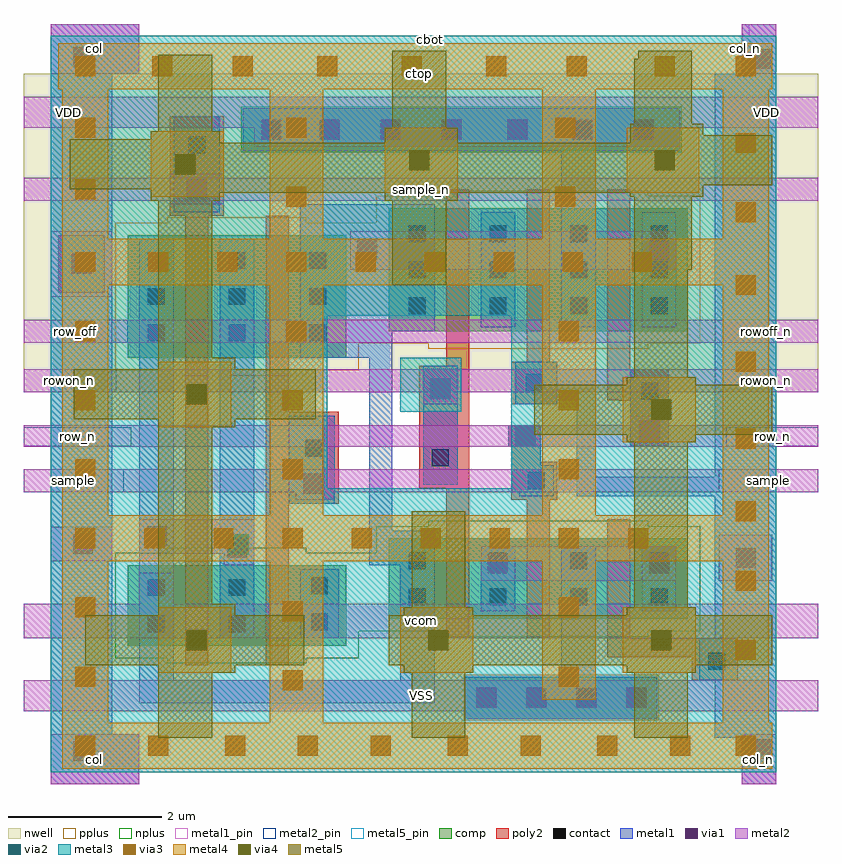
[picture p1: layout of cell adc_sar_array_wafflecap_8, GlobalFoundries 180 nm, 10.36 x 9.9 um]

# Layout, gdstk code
import gdstk
lib = gdstk.Library(unit=1e-6, precision=1e-09)
def R(c, l, rs):  # rectangles x0, y0, x1, y1
    for r in rs: c.add(gdstk.rectangle(r[:2], r[2:], *l))
def A(c, l, x, y, w, h, nx, ny, dx, dy):  # array of equal rectangles
    R(c, l, [(x+i*dx, y+j*dy, x+i*dx+w, y+j*dy+h) for i in range(nx) for j in range(ny)])
nwell = (21, 0)
comp = (22, 0)
poly2 = (30, 0)
pplus = (31, 0)
nplus = (32, 0)
contact = (33, 0)
metal1 = (34, 0)
metal1_pin = (34, 10)
via1 = (35, 0)
metal2 = (36, 0)
metal2_pin = (36, 10)
via2 = (38, 0)
via3 = (40, 0)
via4 = (41, 0)
metal3 = (42, 0)
metal4 = (46, 0)
metal5 = (81, 0)
metal5_pin = (81, 10)

adc_sar_array_wafflecap_ = lib.new_cell('adc_sar_array_wafflecap_8')
R(adc_sar_array_wafflecap_, nwell, [(-5,-0.95,5.35,3.2)])
R(adc_sar_array_wafflecap_, comp, [(0.75,-5.2,3.25,-4.65), (-3.65,-4.25,-0.8,-3.2), (-0.25,-3.9,3.65,-2.85), (-3.65,-0.5,-0.8,1.1), (-0.25,-0.15,3.65,1.45), (-2.15,2.2,3.55,2.75)])
R(adc_sar_array_wafflecap_, poly2, [(3.7,-4.7,4.3,-4.4), (-2.9,-4.5,-2.6,1.35), (-1.85,-4.5,-1.55,-2.4), (2.6,-4.4,4.3,-4.15), (0.5,-4.15,0.8,-2.2), (1.55,-4.15,1.85,-2.35), (2.6,-4.15,2.9,-2.6), (-1.85,-2.4,-0.9,-1.2), (1.35,-2.35,1.95,-1.85), (0.15,-2.2,0.8,-0.6), (1.35,-1.85,1.73,-1.66), (1.31,-1.66,1.73,-1.38), (2.9,-1.65,3.4,-1.055), (-1.85,-1.2,-1.55,1.35), (1.35,-1.1,1.95,-0.55), (2.755,-1.055,3.4,-1.05), (2.6,-1.05,3.4,-0.65), (2.6,-0.65,2.9,1.7), (0.5,-0.6,0.8,1.7), (1.55,-0.55,1.85,1.7), (-4.55,0.35,-3.95,1.1), (-3.1,1.35,-2.4,2.65)])
R(adc_sar_array_wafflecap_, pplus, [(0.73,-5.22,3.27,-4.63), (-3.13,-0.73,-1.32,-0.66), (-3.81,-0.66,-0.64,-0.31), (0.27,-0.38,3.13,-0.31), (-3.81,-0.31,3.81,1.26), (-3.13,1.26,-1.32,1.33), (-0.41,1.26,3.81,1.61), (0.27,1.61,3.13,1.68)])
R(adc_sar_array_wafflecap_, nplus, [(-3.13,-4.48,-1.32,-4.41), (-3.81,-4.41,-0.64,-4.06), (0.27,-4.13,3.13,-4.06), (-3.81,-4.06,3.81,-3.04), (-3.13,-3.04,-1.32,-2.97), (-0.41,-3.04,3.81,-2.69), (0.27,-2.69,3.13,-2.62), (-2.17,2.18,3.57,2.77)])
A(adc_sar_array_wafflecap_, contact, 0.915, -5.035, 0.22, 0.22, 4, 1, 0.65, 0)
A(adc_sar_array_wafflecap_, contact, 0.015, -3.72, 0.22, 0.22, 4, 2, 1.05, 0.47)
A(adc_sar_array_wafflecap_, contact, -3.385, -0.28, 0.22, 0.22, 3, 3, 1.05, 0.47)
A(adc_sar_array_wafflecap_, contact, 0.015, 0.07, 0.22, 0.22, 4, 3, 1.05, 0.47)
A(adc_sar_array_wafflecap_, contact, -1.135, 2.365, 0.22, 0.22, 3, 1, 0.8, 0)
R(adc_sar_array_wafflecap_, contact, [(3.915,-4.56,4.135,-4.34), (-3.385,-4.07,-3.165,-3.85), (-2.335,-4.07,-2.115,-3.85), (-1.26,-4.045,-1.04,-3.825), (-3.385,-3.6,-3.165,-3.38), (-2.335,-3.6,-2.115,-3.38), (-1.26,-3.575,-1.04,-3.355), (1.565,-2.21,1.785,-1.99), (0.315,-1.91,0.535,-1.69), (-1.335,-1.785,-1.115,-1.565), (3.04,-1.035,3.26,-0.815), (0.315,-1.01,0.535,-0.79), (1.54,-0.935,1.76,-0.715), (-2.86,2.165,-2.64,2.385), (-1.885,2.365,-1.665,2.585), (1.315,2.365,1.535,2.585), (2.165,2.365,2.385,2.585), (2.965,2.365,3.185,2.585)])
R(adc_sar_array_wafflecap_, metal1, [(-4.65,-6.05,-3.5,-5.4), (4.35,-6.05,4.8,-5.45), (4,-5.45,4.8,-4.7), (-4.65,-5.4,-3.85,3.2), (0.75,-5.2,3.25,-4.65), (-3.5,-5,0.35,-4.7), (-3.5,-4.7,-3.05,-3.3), (-0.1,-4.7,0.35,-3.2), (3.8,-4.7,4.8,-4.15), (2,-4.65,2.45,-2.95), (-2.45,-4.15,-2,1.05), (-1.4,-4.15,-0.9,-3.25), (4,-4.15,4.8,-2.3), (0.95,-3.8,1.4,-2.95), (3.05,-3.8,3.5,-2.95), (-0.5,-3.2,0.35,-2.75), (-3.5,-3.05,-3.05,1.05), (-0.5,-2.75,-0.2,-0.5), (-1.55,-2.4,-0.95,-1.25), (1.45,-2.3,1.9,-2.25), (2.2,-2.3,4.8,-2.05), (1.35,-2.25,1.9,-1.9), (0.2,-2.15,0.65,-0.6), (2.2,-2.05,2.45,-1.05), (4,-2.05,4.8,3.2), (1.35,-1.9,1.73,-1.66), (1.31,-1.66,1.73,-1.38), (2.9,-1.65,3.4,-0.65), (1.4,-1.1,1.95,-1.05), (1.4,-1.05,2.45,-0.8), (1.4,-0.8,1.95,-0.55), (-1.4,-0.5,-0.2,-0.15), (-1.4,-0.15,0.35,1.5), (0.95,-0.1,1.4,1.4), (2,-0.1,2.45,2.2), (3.05,-0.1,3.5,1.4), (-3.05,1.4,-2.45,2.65), (-2.15,2.2,3.55,2.75), (-4.65,3.2,-3.5,3.85), (4.35,3.2,4.8,3.85)])
R(adc_sar_array_wafflecap_, metal1_pin, [(4.35,-6.05,4.8,-5.4), (4.35,3.2,4.45,3.85)])
A(adc_sar_array_wafflecap_, via1, 0.895, -5.055, 0.26, 0.26, 4, 1, 0.65, 0)
A(adc_sar_array_wafflecap_, via1, -1.155, 2.345, 0.26, 0.26, 3, 1, 0.8, 0)
R(adc_sar_array_wafflecap_, via1, [(-4.355,-5.755,-4.095,-5.495), (4.47,-5.73,4.73,-5.47), (1.045,-3.305,1.305,-3.045), (3.145,-3.305,3.405,-3.045), (4.27,-3.23,4.53,-2.97), (-2.35,-3.105,-2.09,-2.845), (-4.355,-3.055,-4.095,-2.795), (-3.4,-2.955,-3.14,-2.695), (-1.355,-2.27,-1.095,-2.01), (1.4,-1.65,1.66,-1.39), (3.02,-1.58,3.28,-1.32), (0.295,-1.03,0.555,-0.77), (-4.38,0.595,-4.12,0.855), (-0.655,0.77,-0.395,1.03), (3.145,0.77,3.405,1.03), (-2.88,1.57,-2.62,1.83), (-1.905,2.345,-1.645,2.605), (1.295,2.345,1.555,2.605), (2.145,2.345,2.405,2.605), (2.945,2.345,3.205,2.605), (4.47,3.27,4.73,3.53), (-4.355,3.295,-4.095,3.555)])
R(adc_sar_array_wafflecap_, metal2, [(-4.65,-6.05,-3.5,-5.4), (4.35,-6.05,4.8,-5.4), (0.75,-5.2,3.25,-5.1), (-5,-5.1,5.35,-4.7), (-5,-4.15,5.35,-3.7), (-3.5,-3.7,-3.05,-3.05), (0.95,-3.4,3.5,-2.95), (4.05,-3.4,4.75,-2.8), (-2.4,-3.2,-2,-3.05), (-4.65,-3.15,-3.85,-2.7), (-3.5,-3.05,-2,-2.6), (-1.46,-2.35,-0.965,-2.25), (-5,-2.25,5.35,-1.95), (-5.005,-1.66,5.345,-1.38), (2.9,-1.38,3.4,-1.25), (0.2,-1.1,0.65,-0.95), (-5,-0.95,5.35,-0.65), (-5,-0.3,5.35,0), (-4.65,0.3,-3.85,1.15), (-0.75,0.65,3.5,1.15), (-3.1,1.5,-2.4,1.55), (-5,1.55,5.35,1.85), (-3.1,1.85,-2.4,1.9), (-2,2.25,3.55,2.5), (-5,2.5,5.35,2.9), (-4.65,3.2,-3.5,3.85), (4.35,3.2,4.8,3.85)])
R(adc_sar_array_wafflecap_, metal2_pin, [(-4.65,-6.05,-3.5,-5.4), (-5,-5.1,5.35,-4.7), (-5,-4.15,5.35,-3.7), (-5,-2.25,-3.7,-1.95), (4.05,-2.25,5.35,-1.95), (-5,-1.65,-3.6,-1.4), (4.15,-1.65,5.345,-1.4), (-5,-0.95,-3.8,-0.65), (4,-0.95,5.35,-0.65), (-5,-0.3,-3.65,0), (4,-0.3,5.35,0), (-5,1.55,5.35,1.85), (-5,2.5,-3.85,2.9), (4,2.5,5.35,2.9), (-4.65,3.2,-3.5,3.85)])
R(adc_sar_array_wafflecap_, via2, [(-2.33,-3.055,-2.07,-2.795)])
A(adc_sar_array_wafflecap_, via3, -4.33, -5.68, 0.26, 0.26, 1, 3, 0, 0.9)
A(adc_sar_array_wafflecap_, via3, -2.38, -5.68, 0.26, 0.26, 3, 1, 0.95, 0)
A(adc_sar_array_wafflecap_, via3, 4.27, -4.43, 0.26, 0.26, 1, 3, 0, 0.9)
A(adc_sar_array_wafflecap_, via3, -4.33, -2.98, 0.26, 0.26, 9, 1, 0.9, 0)
A(adc_sar_array_wafflecap_, via3, -4.33, -2.08, 0.26, 0.26, 1, 4, 0, 0.9)
A(adc_sar_array_wafflecap_, via3, 1.97, -2.08, 0.26, 0.26, 1, 3, 0, 0.9)
A(adc_sar_array_wafflecap_, via3, 4.27, -1.68, 0.26, 0.26, 1, 3, 0, 1)
A(adc_sar_array_wafflecap_, via3, -3.38, 0.62, 0.26, 0.26, 8, 1, 0.9, 0)
A(adc_sar_array_wafflecap_, via3, -4.33, 1.57, 0.26, 0.26, 1, 3, 0, 0.8)
A(adc_sar_array_wafflecap_, via3, -2.28, 3.17, 0.26, 0.26, 4, 1, 1.1, 0)
R(adc_sar_array_wafflecap_, via3, [(-3.38,-5.68,-3.12,-5.42), (0.52,-5.68,0.78,-5.42), (1.47,-5.68,1.73,-5.42), (2.47,-5.68,2.73,-5.42), (3.42,-5.68,3.68,-5.42), (4.27,-5.68,4.53,-5.42), (-1.63,-4.83,-1.37,-4.57), (1.97,-4.78,2.23,-4.52), (-1.63,-3.93,-1.37,-3.67), (1.97,-3.88,2.23,-3.62), (-1.63,-2.08,-1.37,-1.82), (-1.63,-1.18,-1.37,-0.92), (-1.58,-0.28,-1.32,-0.02), (4.27,1.27,4.53,1.53), (-1.58,1.47,-1.32,1.73), (1.92,1.47,2.18,1.73), (4.27,2.17,4.53,2.43), (-1.58,2.37,-1.32,2.63), (1.92,2.37,2.18,2.63), (-3.33,3.17,-3.07,3.43), (2.07,3.17,2.33,3.43), (3.22,3.17,3.48,3.43), (4.27,3.17,4.53,3.43)])
R(adc_sar_array_wafflecap_, via4, [(-2.88,-4.305,-2.62,-4.045), (0.27,-4.305,0.53,-4.045), (3.17,-4.305,3.43,-4.045), (3.17,-1.305,3.43,-1.045), (-2.88,-1.105,-2.62,-0.845), (-3.03,1.895,-2.77,2.155), (0.02,1.945,0.28,2.205), (3.22,1.945,3.48,2.205)])
R(adc_sar_array_wafflecap_, metal3, [(-4.65,-5.9,4.8,-2.2), (-4.65,-2.2,-1.05,0.05), (1.35,-2.2,4.8,0.05), (-0.1,-1.2,0.7,-0.5), (-4.65,0.05,4.8,3.7)])
R(adc_sar_array_wafflecap_, metal4, [(-4.5,-5.85,4.75,-5.25), (-4.5,-5.25,-3.9,-3.15), (-1.8,-5.25,-1.1,-3.15), (4.1,-5.25,4.7,-3.15), (1.75,-4.95,2.45,-3.15), (-3.25,-4.6,-2.3,-3.75), (-0.1,-4.6,0.85,-3.75), (2.8,-4.6,3.75,-3.75), (-4.5,-3.15,4.7,-2.55), (-4.5,-2.55,-3.9,0.45), (-1.8,-2.55,-1.1,0.45), (1.75,-2.55,2.45,0.45), (4.1,-2.55,4.7,0.45), (2.8,-1.6,3.75,-0.75), (-3.25,-1.4,-2.3,-0.55), (-4.5,0.45,4.7,1.05), (-4.5,1.05,-3.9,3), (-1.8,1.05,-1.1,3), (1.75,1.05,2.45,3), (4.1,1.05,4.7,3), (-3.35,1.6,-2.4,2.45), (-0.3,1.65,0.65,2.5), (2.85,1.65,3.8,2.5), (-4.55,3,4.75,3.6)])
R(adc_sar_array_wafflecap_, metal5, [(-3.25,-5.45,-2.55,-4.6), (0.05,-5.45,0.75,-4.6), (2.95,-5.45,3.65,-4.6), (-3.25,-4.6,-2.25,-4.5), (-0.05,-4.6,0.85,-4.5), (2.85,-4.6,3.75,-4.5), (-4.2,-4.5,-1.35,-3.85), (-0.25,-4.5,4.75,-3.85), (-3.25,-3.85,-2.25,-3.7), (-0.05,-3.85,0.85,-3.75), (2.85,-3.85,3.75,-3.75), (0.05,-3.75,0.75,-2.5), (2.95,-3.75,3.65,-1.6), (-3.25,-3.7,-2.55,-1.4), (2.85,-1.6,3.75,-1.5), (1.65,-1.5,4.75,-0.85), (-3.25,-1.4,-2.25,-1.3), (-4.35,-1.3,-1.2,-0.65), (2.85,-0.85,3.75,-0.75), (2.95,-0.75,3.65,0.65), (-3.25,-0.65,-2.25,-0.5), (-3.25,-0.5,-2.55,1.55), (-0.2,0.45,0.5,1.55), (2.95,0.65,3.7,1.6), (-3.35,1.55,-2.45,1.65), (-0.3,1.55,0.65,1.65), (2.9,1.6,3.85,1.65), (-3.35,1.65,3.85,1.7), (-4.4,1.7,3.85,1.75), (-4.4,1.75,4.75,2.3), (-4.4,2.3,-2.45,2.35), (-0.3,2.3,0.65,2.5), (2.9,2.3,4.75,2.4), (-3.35,2.35,-2.45,2.45), (2.9,2.4,3.85,2.55), (-3.25,2.45,-2.55,3.45), (-0.2,2.5,0.5,3.5), (2.95,2.55,3.7,3.4), (3,3.4,3.7,3.5)])
R(adc_sar_array_wafflecap_, metal5_pin, [(-0.2,2.9,0.5,3.5)])
adc_sar_array_wafflecap_.add(gdstk.Label('col_n', (4.575,-5.725), layer=34, texttype=10))
adc_sar_array_wafflecap_.add(gdstk.Label('col_n', (4.4,3.525), layer=34, texttype=10))
adc_sar_array_wafflecap_.add(gdstk.Label('VDD', (-4.425,2.7), layer=36, texttype=10))
adc_sar_array_wafflecap_.add(gdstk.Label('VDD', (4.675,2.7), layer=36, texttype=10))
adc_sar_array_wafflecap_.add(gdstk.Label('rowoff_n', (4.675,-0.15), layer=36, texttype=10))
adc_sar_array_wafflecap_.add(gdstk.Label('rowon_n', (-4.4,-0.8), layer=36, texttype=10))
adc_sar_array_wafflecap_.add(gdstk.Label('rowon_n', (4.675,-0.8), layer=36, texttype=10))
adc_sar_array_wafflecap_.add(gdstk.Label('row_n', (-4.3,-1.525), layer=36, texttype=10))
adc_sar_array_wafflecap_.add(gdstk.Label('row_n', (4.747,-1.525), layer=36, texttype=10))
adc_sar_array_wafflecap_.add(gdstk.Label('sample', (-4.35,-2.1), layer=36, texttype=10))
adc_sar_array_wafflecap_.add(gdstk.Label('sample', (4.7,-2.1), layer=36, texttype=10))
adc_sar_array_wafflecap_.add(gdstk.Label('sample_n', (0.175,1.7), layer=36, texttype=10))
adc_sar_array_wafflecap_.add(gdstk.Label('vcom', (0.175,-3.925), layer=36, texttype=10))
adc_sar_array_wafflecap_.add(gdstk.Label('VSS', (0.175,-4.9), layer=36, texttype=10))
adc_sar_array_wafflecap_.add(gdstk.Label('col', (-4.075,-5.725), layer=36, texttype=10))
adc_sar_array_wafflecap_.add(gdstk.Label('col', (-4.075,3.525), layer=36, texttype=10))
adc_sar_array_wafflecap_.add(gdstk.Label('ctop', (0.15,3.2), layer=81, texttype=10))
adc_sar_array_wafflecap_.add(gdstk.Label('cbot', (0.3,3.65), layer=42, texttype=10))
adc_sar_array_wafflecap_.add(gdstk.Label('row_off', (-4.325,-0.15), layer=36, texttype=10))

lib.write_gds('adc_sar_array_wafflecap_8.gds')
